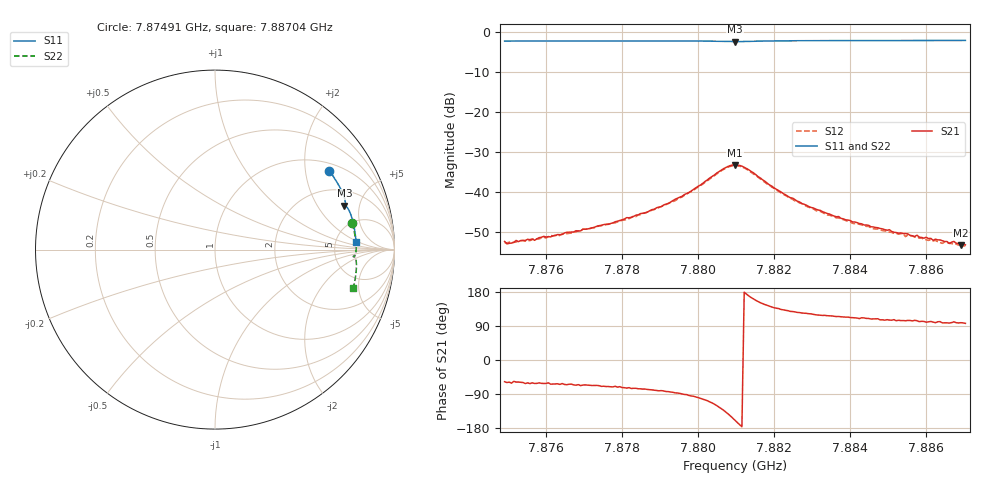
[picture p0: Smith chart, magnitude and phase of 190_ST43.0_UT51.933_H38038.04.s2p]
#  HZ  S  DB  R  50.00
! Rohde & Schwarz Vector Network Analyzer
! Rohde-Schwarz,ZNB20-2Port,1311601062101988,3.16
! Created: UTC 1/12/2023, 6:43:30 PM
! freq[Hz]  db:S11  ang:S11  db:S21  ang:S21  db:S12  ang:S12  db:S22  ang:S22
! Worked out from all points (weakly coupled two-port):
!   201 points, 7.87491 GHz to 7.88704 GHz, reference 50 ohm
!   highest |S21| = -33.16 dB at 7.88097 GHz (marker M1); lowest = -53.1 dB at 7.88692 GHz (marker M2)
!   lowest |S11| = -2.4 dB at 7.88097 GHz (marker M3), VSWR 7.37, Z = 153 + j177 ohm
!   |S11| at or under -10 dB: nowhere
!   |S22| runs from -2.3 to -1.9 dB; largest |S21 - S12| = 0.0014
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7.874908e9  -2.24 34.7  -52.28 -57.3  -52.56 -61.8  -2.18 10.8
7.874969e9  -2.23 34.6  -52.89 -59.4  -52.62 -61.8  -2.18 10.7
7.875212e9  -2.23 33.9  -52.03 -58.3  -52.39 -62.3  -2.16 10.1
7.875697e9  -2.22 32.6  -51.99 -61.9  -51.52 -63.6  -2.15 9.0
7.875939e9  -2.22 31.9  -51.01 -61.9  -51.19 -64.7  -2.14 8.4
7.876303e9  -2.22 30.9  -50.56 -62.8  -50.98 -65.7  -2.13 7.6
7.876971e9  -2.20 29.1  -49.20 -66.0  -49.23 -68.4  -2.11 5.9
7.87782e9  -2.19 26.8  -47.36 -69.4  -47.62 -74.3  -2.10 4.0
7.878972e9  -2.19 23.6  -43.69 -81.3  -43.80 -84.6  -2.08 1.3
7.879761e9  -2.20 21.3  -40.06 -93.6  -40.06 -96.3  -2.09 -0.7
7.88067e9  -2.32 18.9  -34.11 -132.4  -34.29 -135.5  -2.21 -2.7
7.880974e9  -2.37 18.7  -33.16 -159.0  -33.33 -162.5  -2.26 -2.8
7.881277e9  -2.32 18.6  -34.06 173.8  -34.21 170.3  -2.22 -2.9
7.882429e9  -2.16 15.5  -41.37 128.3  -41.49 125.4  -2.04 -5.3
7.883036e9  -2.14 13.8  -43.91 120.5  -44.12 116.7  -2.01 -6.8
7.884067e9  -2.12 11.0  -47.40 111.8  -47.75 108.4  -1.98 -9.2
7.885038e9  -2.10 8.4  -49.34 105.3  -49.92 103.5  -1.97 -11.3
7.885462e9  -2.10 7.3  -50.30 103.6  -51.07 100.7  -1.96 -12.2
7.886615e9  -2.09 4.3  -52.77 97.4  -52.71 93.9  -1.95 -14.8
7.886736e9  -2.09 4.0  -52.26 100.7  -52.87 94.9  -1.94 -15.0
7.886918e9  -2.08 3.5  -53.13 98.4  -53.07 94.0  -1.94 -15.4
7.887039e9  -2.08 3.2  -53.13 96.7  -53.30 94.0  -1.94 -15.6
